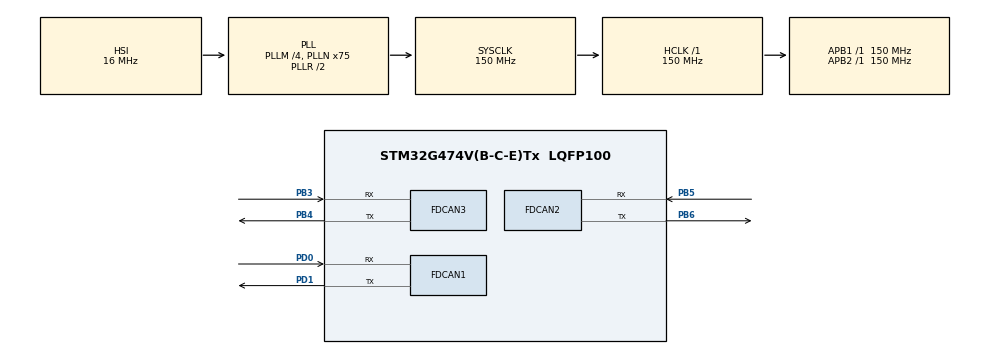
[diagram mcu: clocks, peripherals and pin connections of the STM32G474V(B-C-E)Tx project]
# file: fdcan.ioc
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FDCAN1.CalculateBaudRateNominal=1000000
FDCAN1.CalculateTimeBitNominal=1000
FDCAN1.CalculateTimeQuantumNominal=100.0
FDCAN1.DataPrescaler=15
FDCAN1.DataTimeSeg1=6
FDCAN1.DataTimeSeg2=3
FDCAN1.NominalPrescaler=15
FDCAN1.NominalTimeSeg1=6
FDCAN1.NominalTimeSeg2=3
FDCAN1.StdFiltersNbr=1
FDCAN2.CalculateBaudRateNominal=1000000
FDCAN2.CalculateTimeBitNominal=1000
FDCAN2.CalculateTimeQuantumNominal=100.0
FDCAN2.DataPrescaler=15
FDCAN2.DataTimeSeg1=6
FDCAN2.DataTimeSeg2=3
FDCAN2.NominalPrescaler=15
FDCAN2.NominalTimeSeg1=6
FDCAN2.NominalTimeSeg2=3
FDCAN2.StdFiltersNbr=1
FDCAN3.CalculateBaudRateNominal=1000000
FDCAN3.CalculateTimeBitNominal=1000
FDCAN3.CalculateTimeQuantumNominal=100.0
FDCAN3.DataPrescaler=15
FDCAN3.DataTimeSeg1=6
FDCAN3.DataTimeSeg2=3
FDCAN3.NominalPrescaler=15
FDCAN3.NominalTimeSeg1=6
FDCAN3.NominalTimeSeg2=3
FDCAN3.StdFiltersNbr=1
Mcu.Family=STM32G4
Mcu.Name=STM32G474V(B-C-E)Tx
Mcu.Package=LQFP100
NVIC.FDCAN1_IT0_IRQn=true\:0\:0\:false\:false\:true\:true\:true\:true
NVIC.FDCAN2_IT1_IRQn=true\:0\:0\:false\:false\:true\:true\:true\:true
NVIC.FDCAN3_IT0_IRQn=true\:0\:0\:false\:false\:true\:true\:true\:true
NVIC.PriorityGroup=NVIC_PRIORITYGROUP_4
PA13.Mode=Serial_Wire
PA13.Signal=SYS_JTMS-SWDIO
PA14.Mode=Serial_Wire
PA14.Signal=SYS_JTCK-SWCLK
PB3.Mode=FDCAN_Activate
PB3.Signal=FDCAN3_RX
PB4.Mode=FDCAN_Activate
PB4.Signal=FDCAN3_TX
PB5.Mode=FDCAN_Activate
PB5.Signal=FDCAN2_RX
PB6.Mode=FDCAN_Activate
PB6.Signal=FDCAN2_TX
PD0.Mode=FDCAN_Activate
PD0.Signal=FDCAN1_RX
PD1.Mode=FDCAN_Activate
PD1.Signal=FDCAN1_TX
PF0-OSC_IN.Mode=HSE-External-Oscillator
PF0-OSC_IN.Signal=RCC_OSC_IN
PF1-OSC_OUT.Mode=HSE-External-Oscillator
PF1-OSC_OUT.Signal=RCC_OSC_OUT
ProjectManager.HeapSize=0x200
ProjectManager.StackSize=0x400
ProjectManager.TargetToolchain=MDK-ARM V5.32
RCC.ADC12Freq_Value=150000000
RCC.ADC345Freq_Value=150000000
RCC.AHBFreq_Value=150000000
RCC.APB1Freq_Value=150000000
RCC.APB1TimFreq_Value=150000000
RCC.APB2Freq_Value=150000000
RCC.APB2TimFreq_Value=150000000
RCC.CortexFreq_Value=150000000
RCC.EXTERNAL_CLOCK_VALUE=12288000
RCC.HCLKFreq_Value=150000000
RCC.HSE_VALUE=8000000
RCC.HSI48_VALUE=48000000
RCC.HSI_VALUE=16000000
RCC.LSE_VALUE=32768
RCC.PLLM=RCC_PLLM_DIV4
RCC.PLLN=75
RCC.SYSCLKFreq_VALUE=150000000
RCC.SYSCLKSource=RCC_SYSCLKSOURCE_PLLCLK
RCC.USBFreq_Value=150000000
RCC.VCOOutputFreq_Value=300000000
VP_SYS_VS_DBSignals.Mode=DisableDeadBatterySignals
board=custom

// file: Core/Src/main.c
/* USER CODE BEGIN Header */
/**
  ******************************************************************************
  * @file           : main.c
  * @brief          : Main program body
  ******************************************************************************
  * @attention
  *
  * Copyright (c) 2023 STMicroelectronics.
  * All rights reserved.
  *
  * This software is licensed under terms that can be found in the LICENSE file
  * in the root directory of this software component.
  * If no LICENSE file comes with this software, it is provided AS-IS.
  *
  ******************************************************************************
  */
/* USER CODE END Header */
#include "main.h"
#include "fdcan.h"
#include "gpio.h"

/* USER CODE BEGIN Includes */
#include "fdcan_bsp.h"
#include "fdRM3508.h"
#include "GM6020.h"
/* USER CODE END Includes */

void SystemClock_Config(void);

int main(void)
{

  /* MCU Configuration--------------------------------------------------------*/

  /* Reset of all peripherals, Initializes the Flash interface and the Systick. */
  HAL_Init();

  /* Configure the system clock */
  SystemClock_Config();

  /* Initialize all configured peripherals */
  MX_GPIO_Init();
  MX_FDCAN1_Init();
  MX_FDCAN2_Init();
  MX_FDCAN3_Init();
  /* USER CODE BEGIN 2 */
	FDCAN1_Init(&hfdcan1);
	FDCAN2_Init(&hfdcan2);
	FDCAN2_Init(&hfdcan3);

  /* USER CODE END 2 */

  /* Infinite loop */
  while (1)
  {

    /* USER CODE BEGIN 3 */

		GM6020_Set_Speed(150,1);
		HAL_Delay(1);
  }
  /* USER CODE END 3 */
}

void SystemClock_Config(void)
{
  RCC_OscInitTypeDef RCC_OscInitStruct = {0};
  RCC_ClkInitTypeDef RCC_ClkInitStruct = {0};

  /** Configure the main internal regulator output voltage
  */
  HAL_PWREx_ControlVoltageScaling(PWR_REGULATOR_VOLTAGE_SCALE1);

  /** Initializes the RCC Oscillators according to the specified parameters
  * in the RCC_OscInitTypeDef structure.
  */
  RCC_OscInitStruct.OscillatorType = RCC_OSCILLATORTYPE_HSI;
  RCC_OscInitStruct.HSIState = RCC_HSI_ON;
  RCC_OscInitStruct.HSICalibrationValue = RCC_HSICALIBRATION_DEFAULT;
  RCC_OscInitStruct.PLL.PLLState = RCC_PLL_ON;
  RCC_OscInitStruct.PLL.PLLSource = RCC_PLLSOURCE_HSI;
  RCC_OscInitStruct.PLL.PLLM = RCC_PLLM_DIV4;
  RCC_OscInitStruct.PLL.PLLN = 75;
  RCC_OscInitStruct.PLL.PLLP = RCC_PLLP_DIV2;
  RCC_OscInitStruct.PLL.PLLQ = RCC_PLLQ_DIV2;
  RCC_OscInitStruct.PLL.PLLR = RCC_PLLR_DIV2;
  if (HAL_RCC_OscConfig(&RCC_OscInitStruct) != HAL_OK)
  {
    Error_Handler();
  }

  /** Initializes the CPU, AHB and APB buses clocks
  */
  RCC_ClkInitStruct.ClockType = RCC_CLOCKTYPE_HCLK|RCC_CLOCKTYPE_SYSCLK
                              |RCC_CLOCKTYPE_PCLK1|RCC_CLOCKTYPE_PCLK2;
  RCC_ClkInitStruct.SYSCLKSource = RCC_SYSCLKSOURCE_PLLCLK;
  RCC_ClkInitStruct.AHBCLKDivider = RCC_SYSCLK_DIV1;
  RCC_ClkInitStruct.APB1CLKDivider = RCC_HCLK_DIV1;
  RCC_ClkInitStruct.APB2CLKDivider = RCC_HCLK_DIV1;

  if (HAL_RCC_ClockConfig(&RCC_ClkInitStruct, FLASH_LATENCY_4) != HAL_OK)
  {
    Error_Handler();
  }
}

/* USER CODE BEGIN 4 */
/*********FDcan1和FDcan3*********/
//void HAL_FDCAN_RxFifo0Callback(FDCAN_HandleTypeDef *hfdcan, uint32_t RxFifo0ITs)
//{
//	FDCAN_RxHeaderTypeDef RxMessage;
//    uint8_t RxData[8] = {0};
//
//	HAL_FDCAN_GetRxMessage(hfdcan, FDCAN_RX_FIFO0,&RxMessage, RxData);
//    	if(RxMessage.IdType==FDCAN_STANDARD_ID)
//	{
//		if(RxMessage.Identifier>=0x205&&RxMessage.Identifier<=0x20B)
//		{
//			GM6020_Get_Feedback(RxMessage .Identifier,RxData);
//		}
//	}
//
//}
/*************FDcan2*********/
void HAL_FDCAN_RxFifo1Callback(FDCAN_HandleTypeDef *hfdcan, uint32_t RxFifo0ITs)
{
	FDCAN_RxHeaderTypeDef RxMessage;
    uint8_t RxData[8] = {0};

	HAL_FDCAN_GetRxMessage(hfdcan, FDCAN_RX_FIFO1, &RxMessage, RxData);
    	if(RxMessage.IdType==FDCAN_STANDARD_ID)
	{
		if(RxMessage.Identifier>=0x205&&RxMessage.Identifier<=0x20B)
		{
			GM6020_Get_Feedback(RxMessage .Identifier,RxData);
		}
	}

}

/* USER CODE END 4 */

void Error_Handler(void)
{
  __disable_irq();
  while (1)
  {
  }
}
